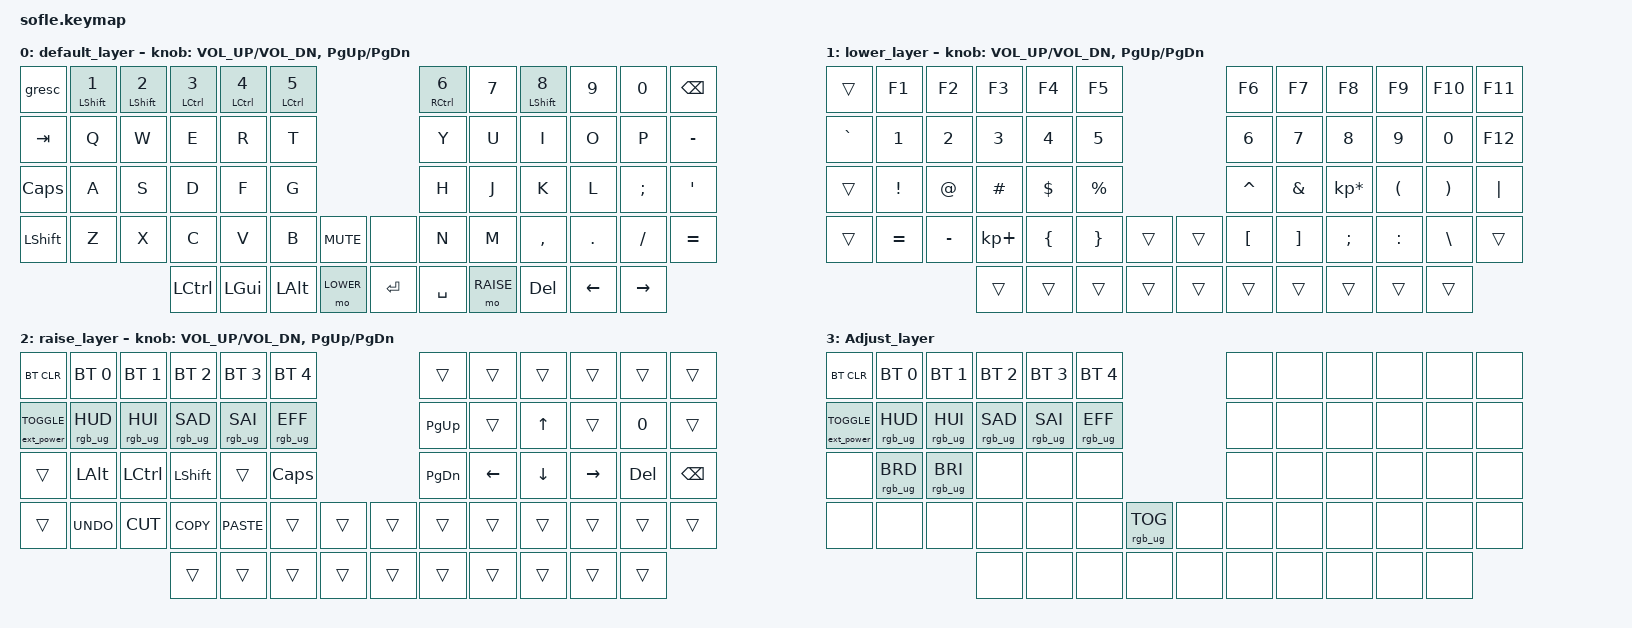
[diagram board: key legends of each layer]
/*
 * Copyright (c) 2020 The ZMK Contributors
 *
 * SPDX-License-Identifier: MIT
 */

#include <behaviors.dtsi>
#include <dt-bindings/zmk/keys.h>
#include <dt-bindings/zmk/bt.h>
#include <dt-bindings/zmk/rgb.h>
#include <dt-bindings/zmk/ext_power.h>

#define BASE 0
#define LOWER 1
#define RAISE 2
#define ADJUST 3

&left_encoder { resolution = <1>; };
&right_encoder { resolution = <1>; };

/ {

   // Activate ADJUST layer by pressing raise and lower
    conditional_layers {
        compatible = "zmk,conditional-layers";
        adjust_layer {
            if-layers = <LOWER RAISE>;
            then-layer = <ADJUST>;
        };
    };

    keymap {
        compatible = "zmk,keymap";

        default_layer {
       
// ------------------------------------------------------------------------------------------------------------
// |  ESC  |  1  |  2  |  3   |  4   |  5   |                   |  6   |  7    |  8    |  9   |   0   | BKSPC |
// |  TAB  |  Q  |  W  |  E   |  R   |  T   |                   |  Y   |  U    |  I    |  O   |   P   |   -   |
// |  CAPL |  A  |  S  |  D   |  F   |  G   |                   |  H   |  J    |  K    |  L   |   ;   |   '   |
// | SHIFT |  Z  |  X  |  C   |  V   |  B   |  MUTE  |  |       |  N   |  M    |  ,    |  .   |   /   |    =  |
//               | GUI | ALT  | CTRL | LOWER|  ENTER |  | SPACE | RAISE| CTRL  | ALT   | GUI  |
            bindings = <
&gresc    &mt LSHIFT N1 &mt LSHIFT N2   &mt LCTRL N3   &mt LCTRL N4    &mt LCTRL N5              &mt RCTRL N6 &kp N7    &mt LSHIFT N8    &kp N9   &kp N0   &kp BSPC
&kp TAB   &kp Q         &kp W           &kp E          &kp R           &kp T                     &kp Y        &kp U     &kp I            &kp O    &kp P    &kp MINUS
&kp CLCK  &kp A         &kp S           &kp D          &kp F           &kp G                     &kp H        &kp J     &kp K            &kp L    &kp SEMI &kp SQT
&kp LSHFT &kp Z         &kp X           &kp C          &kp V           &kp B  &kp C_MUTE &none   &kp N        &kp M     &kp COMMA        &kp DOT  &kp FSLH &kp EQUAL
                                       &kp LCTRL &kp LGUI &kp LALT &mo LOWER  &kp RET    &kp SPACE &mo RAISE  &kp DEL &kp LEFT  &kp RIGHT
            >;

            sensor-bindings = <&inc_dec_kp C_VOL_UP C_VOL_DN &inc_dec_kp PG_UP PG_DN>;
        };

        lower_layer {
// TODO: Some binds are waiting for shifted keycode support.
// ------------------------------------------------------------------------------------------------------------
// |       |  F1 |  F2 |  F3  |  F4  |  F5  |                   |  F6  |  F7   |  F8   |  F9  |  F10  |  F11  |
// | `     |   1 |   2 |   3  |   4  |   5  |                   |   6  |   7   |   8   |   9  |    0  |  F12  |
// |       |  !  |  @  |  #   |  $   |  %   |                   |  ^   |  &    |  *    |  (   |   )   |   |   |
// |       |  =  |  -  |  +   |  {   |  }   |        |  |       |  [   |  ]    |  ;    |  :   |   \   |       |
//               |     |      |      |      |        |  |       |      |       |       |      |
            bindings = <
&trans    &kp F1    &kp F2    &kp F3      &kp F4    &kp F5                    &kp F6    &kp F7   &kp F8          &kp F9    &kp F10   &kp F11
&kp GRAVE &kp N1    &kp N2    &kp N3      &kp N4    &kp N5                    &kp N6    &kp N7   &kp N8          &kp N9    &kp N0    &kp F12
&trans    &kp EXCL  &kp AT    &kp HASH    &kp DLLR  &kp PRCNT                 &kp CARET &kp AMPS &kp KP_MULTIPLY &kp LPAR  &kp RPAR  &kp PIPE
&trans    &kp EQUAL &kp MINUS &kp KP_PLUS &kp LBRC  &kp RBRC  &trans   &trans &kp LBKT  &kp RBKT &kp SEMI        &kp COLON &kp BSLH  &trans
                    &trans    &trans      &trans    &trans    &trans   &trans &trans    &trans   &trans          &trans
            >;

            sensor-bindings = <&inc_dec_kp C_VOL_UP C_VOL_DN &inc_dec_kp PG_UP PG_DN>;
        };

        raise_layer {
// ------------------------------------------------------------------------------------------------------------
// |BTCLR| BT1  | BT2  |  BT3  |  BT4  |  BT5 |                |      |      |       |      |       |       |
// |     | INS  | PSCR | GUI   |       |      |                | PGUP |      |   ^   |      |       |       |
// |     | ALT  | CTRL | SHIFT |       | CAPS |                | PGDN |   <- |   v   |  ->  |  DEL  | BKSPC |
// |     | UNDO | CUT  | COPY  | PASTE |      |      |  |      |      |      |       |      |       |       |
//              |      |       |       |      |      |  |      |      |      |       |      |
            bindings = <
&bt BT_CLR &bt BT_SEL 0 &bt BT_SEL 1 &bt BT_SEL 2 &bt BT_SEL 3 &bt BT_SEL 4                                          &trans    &trans    &trans   &trans    &trans  &trans
&ext_power EXT_POWER_TOGGLE_CMD &rgb_ug RGB_HUD &rgb_ug RGB_HUI &rgb_ug RGB_SAD &rgb_ug RGB_SAI &rgb_ug RGB_EFF      &kp PG_UP &trans    &kp UP   &trans    &kp N0  &trans
&trans     &kp LALT     &kp LCTRL    &kp LSHFT    &trans       &kp CLCK                                              &kp PG_DN &kp LEFT  &kp DOWN &kp RIGHT &kp DEL &kp BSPC
&trans     &kp K_UNDO   &kp K_CUT    &kp K_COPY   &kp K_PASTE  &trans  &trans                                 &trans &trans    &trans    &trans   &trans    &trans  &trans
                        &trans       &trans       &trans       &trans  &trans                                        &trans  &trans    &trans    &trans   &trans
            >;

            sensor-bindings = <&inc_dec_kp C_VOL_UP C_VOL_DN &inc_dec_kp PG_UP PG_DN>;
        };

// ------------------------------------------------------------------------------------------------------------
// |BTCLR | BT1   | BT2   |  BT3  |  BT4  |  BT5  |                |      |      |       |      |       |       |
// |EXTPWR|RGB_HUD|RGB_HUI|RGB_SAD|RGB_SAI|RGB_EFF|                |      |      |       |      |       |       |
// |      |RGB_BRD|RGB_BRI|       |       |       |                |      |      |       |      |       |       |
// |      |       |       |       |       |       |RGB_TOG| |      |      |      |       |      |       |       |
//                |       |       |       |       |       | |      |      |      |       |      |

        Adjust_layer {
        bindings = <
&bt BT_CLR                      &bt BT_SEL 0    &bt BT_SEL 1    &bt BT_SEL 2    &bt BT_SEL 3    &bt BT_SEL 4                                    &none &none &none &none &none &none
&ext_power EXT_POWER_TOGGLE_CMD &rgb_ug RGB_HUD &rgb_ug RGB_HUI &rgb_ug RGB_SAD &rgb_ug RGB_SAI &rgb_ug RGB_EFF                                 &none &none &none &none &none &none
&none                           &rgb_ug RGB_BRD &rgb_ug RGB_BRI &none           &none           &none                                           &none &none &none &none &none &none
&none                           &none           &none           &none           &none           &none               &rgb_ug RGB_TOG  &none      &none &none &none &none &none &none
                                                &none           &none           &none           &none               &none            &none      &none &none &none &none
        >;
        };

    };
};
